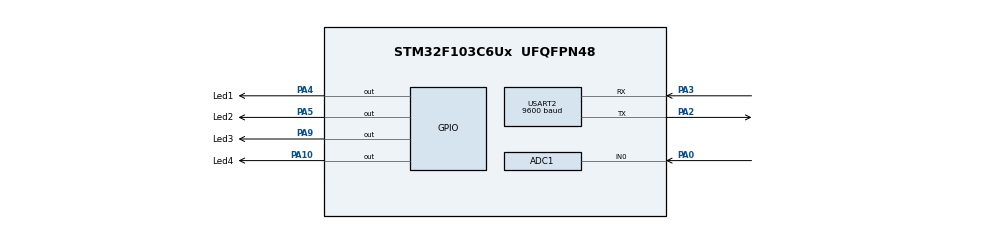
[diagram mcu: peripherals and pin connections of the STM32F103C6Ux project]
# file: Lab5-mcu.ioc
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ADC1.Channel-0\#ChannelRegularConversion=ADC_CHANNEL_0
ADC1.ContinuousConvMode=ENABLE
ADC1.NbrOfConversionFlag=1
ADC1.Rank-0\#ChannelRegularConversion=1
ADC1.SamplingTime-0\#ChannelRegularConversion=ADC_SAMPLETIME_1CYCLE_5
ADC1.master=1
Mcu.Family=STM32F1
Mcu.Name=STM32F103C6Ux
Mcu.Package=UFQFPN48
NVIC.PriorityGroup=NVIC_PRIORITYGROUP_4
NVIC.TIM2_IRQn=true\:0\:0\:false\:false\:true\:true\:true
NVIC.USART2_IRQn=true\:0\:0\:false\:false\:true\:true\:true
PA0-WKUP.Signal=ADCx_IN0
PA10.GPIO_Label=Led4
PA10.Signal=GPIO_Output
PA2.Mode=Asynchronous
PA2.Signal=USART2_TX
PA3.Mode=Asynchronous
PA3.Signal=USART2_RX
PA4.GPIO_Label=Led1
PA4.Signal=GPIO_Output
PA5.GPIO_Label=Led2
PA5.Signal=GPIO_Output
PA9.GPIO_Label=Led3
PA9.Signal=GPIO_Output
ProjectManager.HeapSize=0x200
ProjectManager.StackSize=0x400
ProjectManager.TargetToolchain=STM32CubeIDE
RCC.APB1Freq_Value=8000000
RCC.APB2Freq_Value=8000000
SH.ADCx_IN0.0=ADC1_IN0,IN0
TIM2.Period=9
TIM2.Prescaler=7999
USART2.BaudRate=9600
USART2.VirtualMode=VM_ASYNC
VP_SYS_VS_ND.Mode=No_Debug
VP_TIM2_VS_ClockSourceINT.Mode=Internal
board=custom

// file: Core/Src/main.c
/* USER CODE BEGIN Header */
/**
  ******************************************************************************
  * @file           : main.c
  * @brief          : Main program body
  ******************************************************************************
  * @attention
  *
  * <h2><center>&copy; Copyright (c) 2022 STMicroelectronics.
  * All rights reserved.</center></h2>
  *
  * This software component is licensed by ST under BSD 3-Clause license,
  * the "License"; You may not use this file except in compliance with the
  * License. You may obtain a copy of the License at:
  *                        opensource.org/licenses/BSD-3-Clause
  *
  ******************************************************************************
  */
/* USER CODE END Header */
#include "main.h"
#include <stdio.h>
#include "software_timer.h"

ADC_HandleTypeDef hadc1;

TIM_HandleTypeDef htim2;

UART_HandleTypeDef huart2;

void SystemClock_Config(void);
static void MX_GPIO_Init(void);
static void MX_ADC1_Init(void);
static void MX_TIM2_Init(void);
static void MX_USART2_UART_Init(void);
/* USER CODE BEGIN PFP */
uint8_t data = '0';
/* USER CODE END PFP */

/* USER CODE BEGIN 0 */
#define MAX_BUFFER_SIZE 30
uint8_t temp = 0;
uint8_t buffer[MAX_BUFFER_SIZE];
uint8_t index_buffer = 0;
uint8_t buffer_flag = 0;

uint8_t data_flag = 0; //for condition to send data
int status = 0; //for check RST command
int status_end = 0; //for check OK command
uint32_t send_data[30]; //data buffer to send
uint32_t ADC_value = 0;

void HAL_UART_RxCpltCallback(UART_HandleTypeDef *huart) {
	if (huart->Instance == USART2) {
		buffer[index_buffer++] = temp;
		HAL_UART_Transmit (& huart2 , & temp , 1 , 50) ;
		if (index_buffer == 30)
			index_buffer = 0;
		buffer_flag = 1;
		HAL_UART_Receive_IT(&huart2, &temp, 1);
	}
}

void command_paser_fsm() {
	int index = index_buffer - 1;
	if (index < 0)
		index = 29;
	switch ((char) buffer[index]) {
		case '!': //data receive is '!'
			status = 1;
			status_end = 1;
			break;
		//parser for RST
		case 'R': //data receive is 'R'
			if (status == 1)
				status = 2;
			else
				status = 0;
			break;
		case 'S': //data receive is 'S'
			if (status == 2)
				status = 3;
			else
				status = 0;
			break;
		case 'T': //data receive is 'T'
			if (status == 3)
				status = 4;
			else
				status = 0;
			break;
		//parser for OK
		case 'O': //data receive is 'O'
			if (status_end == 1)
				status_end = 2;
			break;
		case 'K': //data receive is 'K'
			if (status_end == 2)
				status_end = 3;
			break;
		case '#': //data receive is '#'
			if (status == 4) {
				data_flag = 1;
				timer0_flag = 1;
			} else
				status = 0;
			if (status_end == 3)
				data_flag = 0;
			break;
		default:
			break;
	}
}

void uart_communication_fsm() {
	switch (data_flag) {
	case 0: //don't send value
		ADC_value = HAL_ADC_GetValue(&hadc1);
		break;
	case 1: //send ADC value by UART
		if (timer0_flag == 1) {
			HAL_GPIO_TogglePin(Led1_GPIO_Port, Led1_Pin);
			//set timer for timeout 3s
			setTimer0(300);
			//read adc value
			//save format into send_data
			sprintf((char*) send_data, "\r\n!ADC=%ld#\r\n", ADC_value);
			//send data through the UART
			HAL_UART_Transmit(&huart2, (uint8_t*) send_data, 30, 500);
		}
		break;
	default:
		break;
	}
}
/* USER CODE END 0 */

int main(void)
{

  /* MCU Configuration--------------------------------------------------------*/

  /* Reset of all peripherals, Initializes the Flash interface and the Systick. */
  HAL_Init();

  /* Configure the system clock */
  SystemClock_Config();

  /* Initialize all configured peripherals */
  MX_GPIO_Init();
  MX_ADC1_Init();
  MX_TIM2_Init();
  MX_USART2_UART_Init();
  //
  HAL_TIM_Base_Start_IT(&htim2);
  /* USER CODE BEGIN 2 */
//HAL_UART_Transmit_IT(huart, pData, Size){
//
//}
  HAL_UART_Receive_IT(&huart2, &temp, 1);

  	HAL_ADC_Start(&hadc1);
  /* USER CODE END 2 */

  /* Infinite loop */
  /* USER CODE BEGIN WHILE */
//  temp[0] =  2;
//  temp[1] = 3 ;
//  int counter = temp[0]*10+temp[1];
//  uint32_t ADC_value = 0;
//  char str[20] ={0,0,0,0,0,0,0,0,0,0};
  while (1)
  {
	  if (buffer_flag == 1) {
	  			buffer_flag = 0;
	  			command_paser_fsm();
	  		}
	  if(timer0_flag == 1)
	  {
		  HAL_GPIO_TogglePin(Led2_GPIO_Port, Led2_Pin);
	  }
	  		uart_communication_fsm();
    /* USER CODE END WHILE */

  }
}

void SystemClock_Config(void)
{
  RCC_OscInitTypeDef RCC_OscInitStruct = {0};
  RCC_ClkInitTypeDef RCC_ClkInitStruct = {0};
  RCC_PeriphCLKInitTypeDef PeriphClkInit = {0};

  /** Initializes the RCC Oscillators according to the specified parameters
  * in the RCC_OscInitTypeDef structure.
  */
  RCC_OscInitStruct.OscillatorType = RCC_OSCILLATORTYPE_HSI;
  RCC_OscInitStruct.HSIState = RCC_HSI_ON;
  RCC_OscInitStruct.HSICalibrationValue = RCC_HSICALIBRATION_DEFAULT;
  RCC_OscInitStruct.PLL.PLLState = RCC_PLL_NONE;
  if (HAL_RCC_OscConfig(&RCC_OscInitStruct) != HAL_OK)
  {
    Error_Handler();
  }
  /** Initializes the CPU, AHB and APB buses clocks
  */
  RCC_ClkInitStruct.ClockType = RCC_CLOCKTYPE_HCLK|RCC_CLOCKTYPE_SYSCLK
                              |RCC_CLOCKTYPE_PCLK1|RCC_CLOCKTYPE_PCLK2;
  RCC_ClkInitStruct.SYSCLKSource = RCC_SYSCLKSOURCE_HSI;
  RCC_ClkInitStruct.AHBCLKDivider = RCC_SYSCLK_DIV1;
  RCC_ClkInitStruct.APB1CLKDivider = RCC_HCLK_DIV1;
  RCC_ClkInitStruct.APB2CLKDivider = RCC_HCLK_DIV1;

  if (HAL_RCC_ClockConfig(&RCC_ClkInitStruct, FLASH_LATENCY_0) != HAL_OK)
  {
    Error_Handler();
  }
  PeriphClkInit.PeriphClockSelection = RCC_PERIPHCLK_ADC;
  PeriphClkInit.AdcClockSelection = RCC_ADCPCLK2_DIV2;
  if (HAL_RCCEx_PeriphCLKConfig(&PeriphClkInit) != HAL_OK)
  {
    Error_Handler();
  }
}

static void MX_ADC1_Init(void)
{

  ADC_ChannelConfTypeDef sConfig = {0};

  /** Common config
  */
  hadc1.Instance = ADC1;
  hadc1.Init.ScanConvMode = ADC_SCAN_DISABLE;
  hadc1.Init.ContinuousConvMode = ENABLE;
  hadc1.Init.DiscontinuousConvMode = DISABLE;
  hadc1.Init.ExternalTrigConv = ADC_SOFTWARE_START;
  hadc1.Init.DataAlign = ADC_DATAALIGN_RIGHT;
  hadc1.Init.NbrOfConversion = 1;
  if (HAL_ADC_Init(&hadc1) != HAL_OK)
  {
    Error_Handler();
  }
  /** Configure Regular Channel
  */
  sConfig.Channel = ADC_CHANNEL_0;
  sConfig.Rank = ADC_REGULAR_RANK_1;
  sConfig.SamplingTime = ADC_SAMPLETIME_1CYCLE_5;
  if (HAL_ADC_ConfigChannel(&hadc1, &sConfig) != HAL_OK)
  {
    Error_Handler();
  }

}

static void MX_TIM2_Init(void)
{

  TIM_ClockConfigTypeDef sClockSourceConfig = {0};
  TIM_MasterConfigTypeDef sMasterConfig = {0};

  htim2.Instance = TIM2;
  htim2.Init.Prescaler = 7999;
  htim2.Init.CounterMode = TIM_COUNTERMODE_UP;
  htim2.Init.Period = 9;
  htim2.Init.ClockDivision = TIM_CLOCKDIVISION_DIV1;
  htim2.Init.AutoReloadPreload = TIM_AUTORELOAD_PRELOAD_DISABLE;
  if (HAL_TIM_Base_Init(&htim2) != HAL_OK)
  {
    Error_Handler();
  }
  sClockSourceConfig.ClockSource = TIM_CLOCKSOURCE_INTERNAL;
  if (HAL_TIM_ConfigClockSource(&htim2, &sClockSourceConfig) != HAL_OK)
  {
    Error_Handler();
  }
  sMasterConfig.MasterOutputTrigger = TIM_TRGO_RESET;
  sMasterConfig.MasterSlaveMode = TIM_MASTERSLAVEMODE_DISABLE;
  if (HAL_TIMEx_MasterConfigSynchronization(&htim2, &sMasterConfig) != HAL_OK)
  {
    Error_Handler();
  }

}

static void MX_USART2_UART_Init(void)
{

  huart2.Instance = USART2;
  huart2.Init.BaudRate = 9600;
  huart2.Init.WordLength = UART_WORDLENGTH_8B;
  huart2.Init.StopBits = UART_STOPBITS_1;
  huart2.Init.Parity = UART_PARITY_NONE;
  huart2.Init.Mode = UART_MODE_TX_RX;
  huart2.Init.HwFlowCtl = UART_HWCONTROL_NONE;
  huart2.Init.OverSampling = UART_OVERSAMPLING_16;
  if (HAL_UART_Init(&huart2) != HAL_OK)
  {
    Error_Handler();
  }

}

static void MX_GPIO_Init(void)
{
  GPIO_InitTypeDef GPIO_InitStruct = {0};

  /* GPIO Ports Clock Enable */
  __HAL_RCC_GPIOA_CLK_ENABLE();

  /*Configure GPIO pin Output Level */
  HAL_GPIO_WritePin(GPIOA, Led1_Pin|Led2_Pin|Led3_Pin|Led4_Pin, GPIO_PIN_RESET);

  /*Configure GPIO pins : Led1_Pin Led2_Pin Led3_Pin Led4_Pin */
  GPIO_InitStruct.Pin = Led1_Pin|Led2_Pin|Led3_Pin|Led4_Pin;
  GPIO_InitStruct.Mode = GPIO_MODE_OUTPUT_PP;
  GPIO_InitStruct.Pull = GPIO_NOPULL;
  GPIO_InitStruct.Speed = GPIO_SPEED_FREQ_LOW;
  HAL_GPIO_Init(GPIOA, &GPIO_InitStruct);

}

/* USER CODE BEGIN 4 */
void HAL_TIM_PeriodElapsedCallback(TIM_HandleTypeDef *htim) {
	timerRun();
}
/* USER CODE END 4 */

void Error_Handler(void)
{
  __disable_irq();
  while (1)
  {
  }
}

/************************ (C) COPYRIGHT STMicroelectronics *****END OF FILE****/
